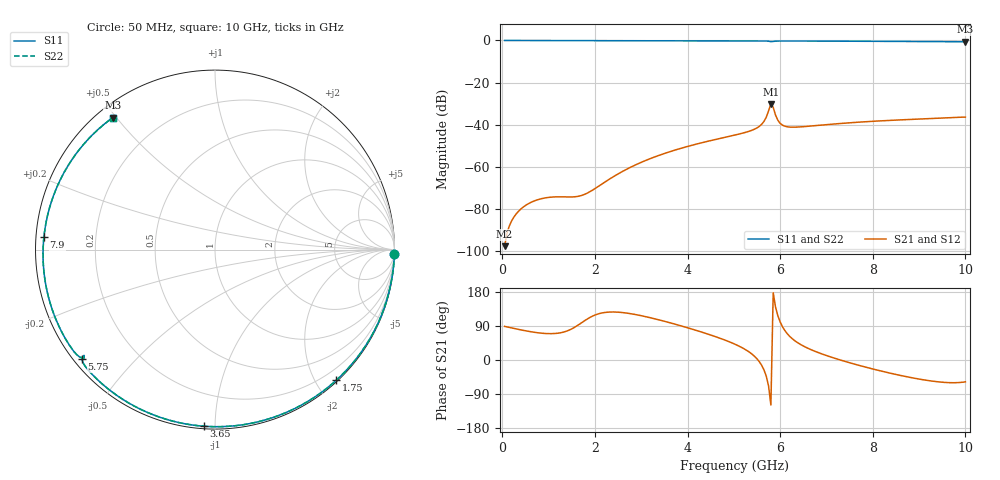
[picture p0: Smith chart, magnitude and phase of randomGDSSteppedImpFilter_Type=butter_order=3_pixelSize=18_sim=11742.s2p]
! freq	dB(S11)	phase(S11)	dB(S12)	phase(S12)
!  dB(S21)	phase(S21)	dB(S22)	phase(S22)
!S-par simulation data
#  GHz  S  DB  R 50
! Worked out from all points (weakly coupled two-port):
!   200 points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, 50 MHz to 10 GHz, reference 50 ohm
!   highest |S21| = -30.18 dB at 5.8 GHz (marker M1); lowest = -97.8 dB at 50 MHz (marker M2)
!   lowest |S11| = -0.6 dB at 10 GHz (marker M3), VSWR 27.60, Z = 2.25 + j24.5 ohm
!   |S11| at or under -10 dB: nowhere
!   |S22| runs from -0.6 to 0.0 dB; largest |S21 - S12| = 0
!   S11 on the Smith chart (normalised r, x): 50 MHz: 0, -82; 1.75 GHz: 0.02, -2.29; 3.65 GHz: 0.01, -0.94; 5.75 GHz: 0.02, -0.36; 7.9 GHz: 0.02, +0.04; 10 GHz: 0.04, +0.49
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0.05  -0.00 -1.4  -97.82 88.7  -97.82 88.7  -0.00 -1.4
0.4  -0.02 -11.0  -80.17 79.5  -80.17 79.5  -0.02 -11.0
0.65  -0.02 -17.8  -76.68 73.9  -76.68 73.9  -0.02 -17.8
0.95  -0.03 -26.0  -74.78 69.8  -74.78 69.8  -0.03 -26.0
1.75  -0.06 -47.2  -73.41 101.4  -73.41 101.4  -0.06 -47.2
2.65  -0.09 -69.9  -61.64 124.4  -61.64 124.4  -0.09 -69.9
3.4  -0.11 -87.9  -54.51 105.4  -54.51 105.4  -0.11 -87.9
3.65  -0.12 -93.7  -52.67 97.3  -52.67 97.3  -0.12 -93.7
5.05  -0.18 -124.7  -44.84 40.3  -44.84 40.3  -0.18 -124.7
5.55  -0.22 -135.6  -40.85 -4.5  -40.85 -4.5  -0.22 -135.6
5.65  -0.24 -137.9  -38.52 -25.8  -38.52 -25.8  -0.24 -137.9
5.75  -0.35 -140.5  -33.47 -68.8  -33.47 -68.8  -0.35 -140.5
5.8  -0.55 -141.1  -30.18 -118.7  -30.18 -118.7  -0.56 -141.1
5.85  -0.47 -140.4  -31.80 177.4  -31.80 177.4  -0.47 -140.4
5.95  -0.29 -142.8  -37.93 116.9  -37.93 116.9  -0.29 -142.7
6.05  -0.26 -145.1  -40.26 88.0  -40.26 88.0  -0.26 -145.1
6.25  -0.26 -149.5  -41.23 57.4  -41.23 57.4  -0.26 -149.4
6.7  -0.29 -158.9  -40.62 25.5  -40.62 25.5  -0.29 -158.9
7.9  -0.39 175.9  -38.57 -20.6  -38.57 -20.6  -0.39 175.9
8.35  -0.44 166.2  -38.03 -34.1  -38.03 -34.1  -0.44 166.2
9.15  -0.52 148.2  -37.22 -53.4  -37.22 -53.4  -0.52 148.2
10  -0.63 127.8  -36.45 -57.7  -36.45 -57.7  -0.63 127.8
